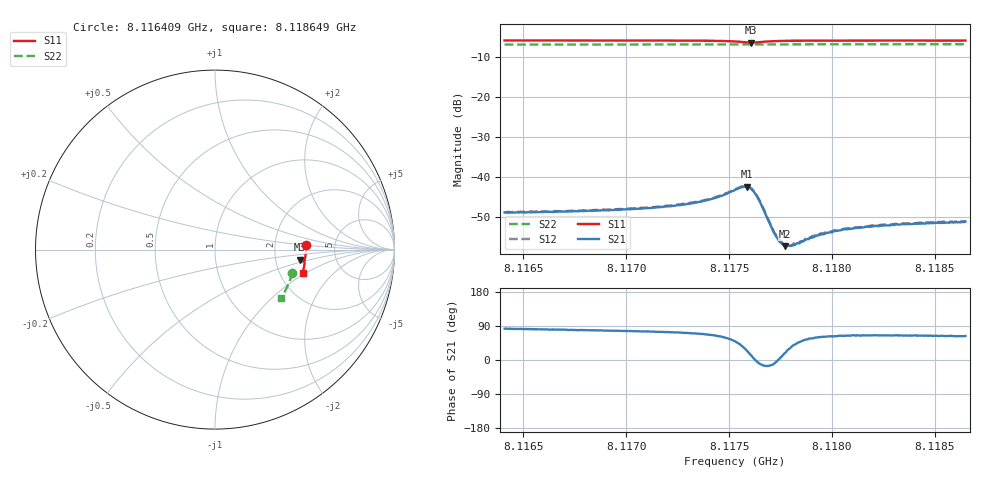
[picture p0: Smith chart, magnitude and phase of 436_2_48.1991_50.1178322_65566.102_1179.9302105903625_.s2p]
#  HZ  S  RI  R  50.00
! Rohde & Schwarz Vector Network Analyzer
! Rohde-Schwarz,ZNB20-2Port,1311601062101988,3.16
! Created: UTC 3/20/2024, 11:55:38 AM
! freq[Hz]  re:S11  im:S11  re:S21  im:S21  re:S12  im:S12  re:S22  im:S22
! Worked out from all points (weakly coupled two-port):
!   401 points, 8.116409 GHz to 8.118649 GHz, reference 50 ohm
!   highest |S21| = -42.44 dB at 8.117585 GHz (marker M1); lowest = -57.3 dB at 8.11777 GHz (marker M2)
!   lowest |S11| = -6.4 dB at 8.117607 GHz (marker M3), VSWR 2.83, Z = 138 - j19.8 ohm
!   |S11| at or under -10 dB: nowhere
!   |S22| runs from -6.9 to -6.8 dB; largest |S21 - S12| = 0.00019
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8.1164087e9  0.5064 0.0283  0.000462 0.00357  0.000527 0.0036  0.4311 -0.1288
8.1167839e9  0.5066 -0.000365  0.000723 0.0037  0.000762 0.00371  0.4238 -0.154
8.1171592e9  0.5049 -0.0301  0.00112 0.00403  0.0012 0.00409  0.4151 -0.1787
8.1172768e9  0.5034 -0.0401  0.00144 0.00428  0.0015 0.00439  0.412 -0.1864
8.117372e9  0.5013 -0.049  0.00183 0.00465  0.00191 0.00472  0.4094 -0.1927
8.1174616e9  0.4969 -0.0584  0.00274 0.00511  0.00285 0.00517  0.4067 -0.1983
8.1175288e9  0.4886 -0.065  0.00446 0.00523  0.00463 0.00524  0.4045 -0.2026
8.1175624e9  0.4813 -0.0652  0.00595 0.00449  0.00613 0.00453  0.4033 -0.2046
8.1175848e9  0.4763 -0.0618  0.0068 0.00326  0.00696 0.00328  0.4025 -0.2058
8.1176072e9  0.4742 -0.0554  0.00693 0.00148  0.00711 0.00146  0.4018 -0.2068
8.117624e9  0.4758 -0.0505  0.00634 0.00021  0.00647 0.000186  0.4015 -0.2075
8.1176408e9  0.4797 -0.0472  0.00538 -0.000609  0.0055 -0.000703  0.4012 -0.2084
8.1177137e9  0.4941 -0.0511  0.00207 -0.000437  0.00217 -0.000454  0.3997 -0.2132
8.1177305e9  0.4958 -0.0533  0.00177 -0.000133  0.00182 -0.000148  0.3994 -0.2144
8.1177529e9  0.497 -0.0564  0.00149 0.000199  0.00155 0.00018  0.3985 -0.2157
8.1177697e9  0.4979 -0.0585  0.0013 0.000419  0.00136 0.000409  0.3981 -0.2168
8.1177921e9  0.4985 -0.0613  0.0012 0.000682  0.00121 0.000673  0.3973 -0.2184
8.1178089e9  0.4987 -0.0632  0.0011 0.000842  0.00115 0.000833  0.397 -0.2195
8.1179041e9  0.4991 -0.073  0.000953 0.00146  0.000998 0.00154  0.3939 -0.2255
8.1180609e9  0.4976 -0.0867  0.000975 0.00198  0.00105 0.002  0.3887 -0.2353
8.1182793e9  0.4944 -0.1039  0.00105 0.00224  0.0011 0.00233  0.3811 -0.2487
8.118649e9  0.4878 -0.1315  0.00124 0.00247  0.0013 0.00248  0.3672 -0.2706
